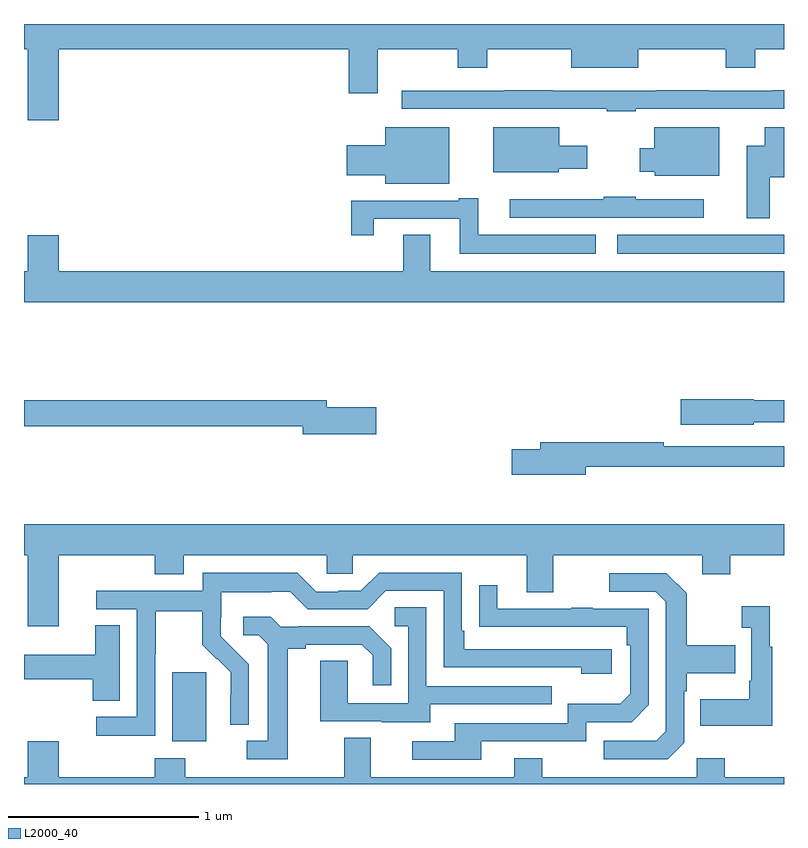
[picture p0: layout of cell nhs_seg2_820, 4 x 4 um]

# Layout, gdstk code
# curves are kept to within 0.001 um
import gdstk
lib = gdstk.Library(unit=1e-6, precision=1e-09)
def R(c, l, rs):  # rectangles x0, y0, x1, y1
    for r in rs: c.add(gdstk.rectangle(r[:2], r[2:], *l))
def P(c, l, *ps):  # polygons
    for p in ps: c.add(gdstk.Polygon(p, *l))
L2000_40 = (2000, 40)

nhs_seg2_820 = lib.new_cell('nhs_seg2_820')
R(nhs_seg2_820, L2000_40, [(153.779,612.026,153.958,612.387), (156.123,614.591,157,614.692)])
P(nhs_seg2_820, L2000_40, [(153.184,615.668),(154.709,615.668),(154.709,615.435),(154.861,615.435),(154.861,615.668),(155.284,615.668),(155.284,615.569),(155.439,615.569),(155.439,615.668),(155.879,615.668),(155.879,615.569),(156.232,615.569),(156.232,615.668),(156.694,615.668),(156.694,615.569),(156.849,615.569),(156.849,615.668),(157,615.668),(157,615.8),(153,615.8),(153,615.668),(153.02,615.668),(153.02,615.294),(153.184,615.294)],
  [(156.221,615.354),(157,615.354),(157,615.452),(156.937,615.452),(156.937,615.45),(156.605,615.45),(156.605,615.452),(156.328,615.452),(156.328,615.45),(155.783,615.45),(155.783,615.452),(155.527,615.452),(155.527,615.45),(154.989,615.45),(154.989,615.354),(155.914,615.354),(155.914,615.353),(156.068,615.353),(156.068,615.342),(156.221,615.342)],
  [(155.239,615.256),(154.901,615.256),(154.901,615.163),(154.698,615.163),(154.698,615.005),(154.901,615.005),(154.901,614.96),(155.239,614.96)],
  [(155.814,615.038),(155.965,615.038),(155.965,615.16),(155.818,615.16),(155.818,615.256),(155.471,615.256),(155.471,615.02),(155.814,615.02)],
  [(156.925,614.993),(157,614.993),(157,615.256),(156.899,615.256),(156.899,615.16),(156.803,615.16),(156.803,614.777),(156.925,614.777)],
  [(156.658,615.256),(156.317,615.256),(156.317,615.145),(156.242,615.145),(156.242,615.023),(156.321,615.023),(156.321,615.002),(156.658,615.002)],
  [(156.577,614.877),(156.221,614.877),(156.221,614.89),(156.052,614.89),(156.052,614.878),(155.556,614.878),(155.556,614.781),(156.577,614.781)],
  [(156.01,614.692),(155.392,614.692),(155.392,614.884),(155.288,614.884),(155.288,614.871),(154.723,614.871),(154.723,614.688),(154.84,614.688),(154.84,614.775),(155.294,614.775),(155.294,614.591),(156.01,614.591)],
  [(157,614.5),(155.137,614.5),(155.137,614.69),(154.997,614.69),(154.997,614.5),(153.184,614.5),(153.184,614.689),(153.02,614.689),(153.02,614.5),(153,614.5),(153,614.336),(157,614.336)],
  [(156.84,613.704),(157,613.704),(157,613.82),(156.84,613.82),(156.84,613.826),(156.456,613.826),(156.456,613.691),(156.84,613.691)],
  [(154.855,613.784),(154.594,613.784),(154.594,613.82),(153,613.82),(153,613.684),(154.466,613.684),(154.466,613.642),(154.855,613.642)],
  [(155.956,613.47),(157,613.47),(157,613.578),(156.368,613.578),(156.368,613.598),(155.717,613.598),(155.717,613.562),(155.568,613.562),(155.568,613.427),(155.956,613.427)],
  [(153,613.004),(153.02,613.004),(153.02,612.63),(153.184,612.63),(153.184,613.004),(153.689,613.004),(153.689,612.905),(153.841,612.905),(153.841,613.004),(154.593,613.004),(154.593,612.906),(154.731,612.906),(154.731,613.004),(155.645,613.004),(155.645,612.81),(155.785,612.81),(155.785,613.004),(156.569,613.004),(156.569,612.905),(156.717,612.905),(156.717,613.004),(157,613.004),(157,613.168),(153,613.168)],
  [(153.69,612.484),(153.693,612.484),(153.693,612.708),(153.937,612.708),(153.937,612.533),(154.014,612.456),(154.017,612.459),(154.088,612.389),(154.088,612.266),(154.086,612.266),(154.086,612.112),(154.182,612.112),(154.182,612.43),(154.036,612.578),(154.036,612.675),(154.038,612.675),(154.038,612.809),(154.301,612.809),(154.301,612.813),(154.401,612.813),(154.494,612.72),(154.809,612.72),(154.905,612.816),(155.208,612.816),(155.208,612.414),(155.933,612.414),(155.933,612.38),(156.094,612.38),(156.094,612.51),(155.317,612.51),(155.317,612.607),(155.304,612.607),(155.304,612.912),(154.869,612.912),(154.773,612.816),(154.655,612.816),(154.655,612.813),(154.539,612.813),(154.439,612.913),(153.942,612.913),(153.942,612.816),(153.381,612.816),(153.381,612.72),(153.594,612.72),(153.594,612.153),(153.381,612.153),(153.381,612.055),(153.69,612.055)],
  [(156.474,612.018),(156.474,612.287),(156.487,612.287),(156.487,612.383),(156.743,612.383),(156.743,612.531),(156.487,612.531),(156.487,612.803),(156.381,612.909),(156.081,612.909),(156.081,612.813),(156.324,612.813),(156.378,612.759),(156.378,612.078),(156.327,612.027),(156.051,612.027),(156.051,611.931),(156.387,611.931)],
  [(155.407,612.024),(155.958,612.024),(155.958,612.126),(156.198,612.126),(156.288,612.216),(156.288,612.723),(155.993,612.723),(155.993,612.728),(155.881,612.728),(155.881,612.723),(155.491,612.723),(155.491,612.847),(155.395,612.847),(155.395,612.628),(156.172,612.627),(156.172,612.53),(156.192,612.53),(156.192,612.276),(156.139,612.223),(155.862,612.223),(155.862,612.12),(155.267,612.12),(155.267,612.024),(155.043,612.024),(155.043,611.928),(155.407,611.928)],
  [(156.937,612.523),(156.925,612.523),(156.925,612.736),(156.777,612.736),(156.777,612.623),(156.828,612.623),(156.828,612.343),(156.816,612.343),(156.816,612.247),(156.559,612.247),(156.559,612.107),(156.937,612.107)],
  [(155.137,612.219),(155.777,612.219),(155.777,612.315),(155.118,612.315),(155.118,612.731),(154.95,612.731),(154.95,612.63),(155.022,612.63),(155.022,612.225),(154.704,612.225),(154.704,612.449),(154.559,612.449),(154.559,612.129),(154.883,612.129),(154.883,612.125),(155.137,612.125)],
  [(154.387,612.512),(154.483,612.512),(154.483,612.534),(154.778,612.534),(154.835,612.477),(154.835,612.321),(154.932,612.321),(154.932,612.514),(154.816,612.63),(154.444,612.63),(154.444,612.627),(154.35,612.627),(154.298,612.679),(154.155,612.679),(154.155,612.582),(154.236,612.582),(154.283,612.535),(154.283,612.027),(154.173,612.027),(154.173,611.931),(154.387,611.931)],
  [(153.505,612.635),(153.374,612.635),(153.374,612.481),(153,612.481),(153,612.352),(153.362,612.352),(153.362,612.238),(153.505,612.238)],
  [(157,611.836),(156.687,611.836),(156.687,611.935),(156.54,611.935),(156.54,611.836),(155.727,611.836),(155.727,611.935),(155.579,611.935),(155.579,611.836),(154.825,611.836),(154.825,612.044),(154.685,612.044),(154.685,611.836),(153.849,611.836),(153.849,611.935),(153.689,611.935),(153.689,611.836),(153.184,611.836),(153.184,612.025),(153.02,612.025),(153.02,611.836),(153,611.836),(153,611.8),(157,611.8)])

lib.write_gds('nhs_seg2_820.gds')
